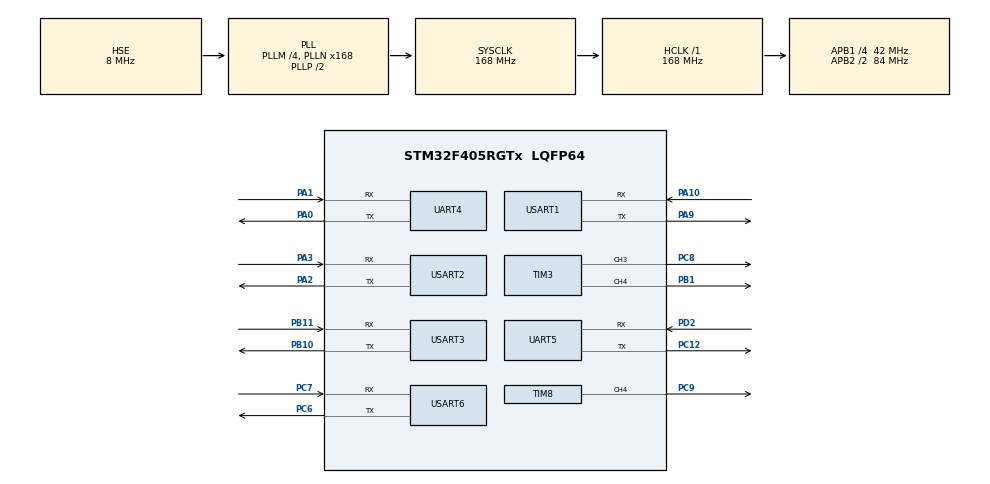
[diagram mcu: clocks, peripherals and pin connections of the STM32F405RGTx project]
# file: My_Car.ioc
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Mcu.Family=STM32F4
Mcu.Name=STM32F405RGTx
Mcu.Package=LQFP64
NVIC.PriorityGroup=NVIC_PRIORITYGROUP_4
NVIC.UART4_IRQn=true\:6\:0\:false\:false\:true\:false\:true\:false
NVIC.UART5_IRQn=true\:6\:0\:false\:false\:true\:false\:true\:false
NVIC.USART1_IRQn=true\:6\:0\:false\:false\:true\:false\:true\:false
NVIC.USART2_IRQn=true\:6\:0\:false\:false\:true\:false\:true\:false
NVIC.USART3_IRQn=true\:6\:0\:false\:false\:true\:false\:true\:false
NVIC.USART6_IRQn=true\:6\:0\:false\:false\:true\:false\:true\:false
PA0-WKUP.Mode=Asynchronous
PA0-WKUP.Signal=UART4_TX
PA1.Mode=Asynchronous
PA1.Signal=UART4_RX
PA10.Mode=Asynchronous
PA10.Signal=USART1_RX
PA13.Mode=Serial_Wire
PA13.Signal=SYS_JTMS-SWDIO
PA14.Mode=Serial_Wire
PA14.Signal=SYS_JTCK-SWCLK
PA2.Mode=Asynchronous
PA2.Signal=USART2_TX
PA3.Mode=Asynchronous
PA3.Signal=USART2_RX
PA9.Mode=Asynchronous
PA9.Signal=USART1_TX
PB1.Signal=S_TIM3_CH4
PB10.Mode=Asynchronous
PB10.Signal=USART3_TX
PB11.Mode=Asynchronous
PB11.Signal=USART3_RX
PC12.Mode=Asynchronous
PC12.Signal=UART5_TX
PC6.Mode=Asynchronous
PC6.Signal=USART6_TX
PC7.Mode=Asynchronous
PC7.Signal=USART6_RX
PC8.Signal=S_TIM3_CH3
PC9.Signal=S_TIM8_CH4
PD2.Mode=Asynchronous
PD2.Signal=UART5_RX
PH0-OSC_IN.Mode=HSE-External-Oscillator
PH0-OSC_IN.Signal=RCC_OSC_IN
PH1-OSC_OUT.Mode=HSE-External-Oscillator
PH1-OSC_OUT.Signal=RCC_OSC_OUT
ProjectManager.HeapSize=0x200
ProjectManager.StackSize=0x400
ProjectManager.TargetToolchain=CMake
RCC.48MHZClocksFreq_Value=84000000
RCC.AHBFreq_Value=168000000
RCC.APB1CLKDivider=RCC_HCLK_DIV4
RCC.APB1Freq_Value=42000000
RCC.APB1TimFreq_Value=84000000
RCC.APB2CLKDivider=RCC_HCLK_DIV2
RCC.APB2Freq_Value=84000000
RCC.APB2TimFreq_Value=168000000
RCC.CortexFreq_Value=168000000
RCC.HCLKFreq_Value=168000000
RCC.HSE_VALUE=8000000
RCC.HSI_VALUE=16000000
RCC.LSE_VALUE=32768
RCC.PLLM=4
RCC.PLLN=168
RCC.PLLSourceVirtual=RCC_PLLSOURCE_HSE
RCC.SYSCLKFreq_VALUE=168000000
RCC.SYSCLKSource=RCC_SYSCLKSOURCE_PLLCLK
RCC.VCOOutputFreq_Value=336000000
SH.S_TIM3_CH3.0=TIM3_CH3,PWM Generation3 CH3
SH.S_TIM3_CH4.0=TIM3_CH4,PWM Generation4 CH4
SH.S_TIM8_CH4.0=TIM8_CH4,PWM Generation4 CH4
TIM3.Channel-PWM\ Generation3\ CH3=TIM_CHANNEL_3
TIM3.Channel-PWM\ Generation4\ CH4=TIM_CHANNEL_4
TIM8.Channel-PWM\ Generation4\ CH4=TIM_CHANNEL_4
UART4.VirtualMode=Asynchronous
UART5.VirtualMode=Asynchronous
USART1.VirtualMode=VM_ASYNC
USART2.VirtualMode=VM_ASYNC
USART3.VirtualMode=VM_ASYNC
USART6.VirtualMode=VM_ASYNC
VP_TIM3_VS_ClockSourceINT.Mode=Internal
VP_TIM8_VS_ClockSourceINT.Mode=Internal
board=custom

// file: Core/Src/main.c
/* USER CODE BEGIN Header */
/**
  ******************************************************************************
  * @file           : main.c
  * @brief          : Main program body
  ******************************************************************************
  * @attention
  *
  * Copyright (c) 2026 STMicroelectronics.
  * All rights reserved.
  *
  * This software is licensed under terms that can be found in the LICENSE file
  * in the root directory of this software component.
  * If no LICENSE file comes with this software, it is provided AS-IS.
  *
  ******************************************************************************
  */
/* USER CODE END Header */
#include "main.h"

/* USER CODE BEGIN Includes */
#include "common.h"
#include "chassis.h"
#include "actuator.h"
#include "positioning.h"
#include "vision.h"
#include "navigation.h"
#include "qrcode.h"
#include "task.h"
#include "obstacle.h"
#include <stdio.h>

/* 底盘运动测试模式
 * 用途: 脱离任务流程, 通过蓝牙单独调试底盘运动
 * 使用: 取消下面这行的注释, 重新编译烧录, 手机蓝牙串口连接后发指令
 * 关闭: 测试完毕后注释回去, 重新编译即可恢复完整任务流程
 * 指令: V vx vy wz (速度) / N x y (导航) / S (停车) / ? (查询)
 */
// #define CHASSIS_TEST_MODE

/* USER CODE END Includes */

TIM_HandleTypeDef htim3;
TIM_HandleTypeDef htim8;

UART_HandleTypeDef huart4;
UART_HandleTypeDef huart5;
UART_HandleTypeDef huart1;
UART_HandleTypeDef huart2;
UART_HandleTypeDef huart3;
UART_HandleTypeDef huart6;

/* USER CODE BEGIN PV */
uart_ring_buf_t uart1_rx_buf;  /* USART1: Linux视觉通信 */
uart_ring_buf_t uart2_rx_buf;  /* USART2: 底盘电机+升降电机 */
uart_ring_buf_t uart3_rx_buf;  /* USART3: OPS9定位 */
uart_ring_buf_t uart4_rx_buf;  /* UART4:  串口屏 */
uart_ring_buf_t uart5_rx_buf;  /* UART5:  二维码模块 */
uart_ring_buf_t uart6_rx_buf;  /* USART6: 避障传感器 (STP-23L) */

/* 每个串口的单字节接收缓冲区 */
uint8_t uart1_rx_byte;
uint8_t uart2_rx_byte;
uint8_t uart3_rx_byte;
uint8_t uart4_rx_byte;
uint8_t uart5_rx_byte;
uint8_t uart6_rx_byte;
/* USER CODE END PV */

void SystemClock_Config(void);
static void MX_GPIO_Init(void);
static void MX_TIM3_Init(void);
static void MX_TIM8_Init(void);
static void MX_UART4_Init(void);
static void MX_UART5_Init(void);
static void MX_USART1_UART_Init(void);
static void MX_USART2_UART_Init(void);
static void MX_USART3_UART_Init(void);
static void MX_USART6_UART_Init(void);

int main(void)
{

  /* MCU Configuration--------------------------------------------------------*/

  /* Reset of all peripherals, Initializes the Flash interface and the Systick. */
  HAL_Init();

  /* Configure the system clock */
  SystemClock_Config();

  /* Initialize all configured peripherals */
  MX_GPIO_Init();
  MX_TIM3_Init();
  MX_TIM8_Init();
  MX_UART4_Init();
  MX_UART5_Init();
  MX_USART1_UART_Init();
  MX_USART2_UART_Init();
  MX_USART3_UART_Init();
  MX_USART6_UART_Init();
  /* USER CODE BEGIN 2 */
  /* 使能串口中断 */
  HAL_NVIC_SetPriority(USART1_IRQn, 6, 0);
  HAL_NVIC_EnableIRQ(USART1_IRQn);
  HAL_NVIC_SetPriority(USART2_IRQn, 6, 0);
  HAL_NVIC_EnableIRQ(USART2_IRQn);
  HAL_NVIC_SetPriority(USART3_IRQn, 6, 0);
  HAL_NVIC_EnableIRQ(USART3_IRQn);
  HAL_NVIC_SetPriority(UART4_IRQn, 6, 0);
  HAL_NVIC_EnableIRQ(UART4_IRQn);
  HAL_NVIC_SetPriority(UART5_IRQn, 6, 0);
  HAL_NVIC_EnableIRQ(UART5_IRQn);
  HAL_NVIC_SetPriority(USART6_IRQn, 6, 0);
  HAL_NVIC_EnableIRQ(USART6_IRQn);

  /* 初始化环形缓冲区 */
  ring_buf_init(&uart1_rx_buf);
  ring_buf_init(&uart2_rx_buf);
  ring_buf_init(&uart3_rx_buf);
  ring_buf_init(&uart4_rx_buf);
  ring_buf_init(&uart5_rx_buf);
  ring_buf_init(&uart6_rx_buf);

  /* 启动串口接收中断 (每次1字节) */
  HAL_UART_Receive_IT(&huart1, &uart1_rx_byte, 1);
  HAL_UART_Receive_IT(&huart2, &uart2_rx_byte, 1);
  HAL_UART_Receive_IT(&huart3, &uart3_rx_byte, 1);
  HAL_UART_Receive_IT(&huart4, &uart4_rx_byte, 1);
  HAL_UART_Receive_IT(&huart5, &uart5_rx_byte, 1);
  HAL_UART_Receive_IT(&huart6, &uart6_rx_byte, 1);

  /* 初始化各模块 */
  chassis_init();
  actuator_init();
  positioning_init();
  vision_init();
  obstacle_init();
  navigation_init();
  qr_code_init();
  task_init();

  /* 启动延时 - 等待传感器稳定 */
  HAL_Delay(500);

#ifdef CHASSIS_TEST_MODE
  /* 测试模式启动提示: 上电后通过蓝牙发送帮助信息 */
  {
      const char *banner =
          "\r\n===== 底盘测试模式 =====\r\n"
          "V vx vy wz  速度(m/s,rad/s)\r\n"
          "N x y       导航到坐标(m)\r\n"
          "S           停车\r\n"
          "?           查询位置/导航\r\n"
          "D           查询避障距离\r\n"
          "============================\r\n";
      HAL_UART_Transmit(&huart6, (uint8_t *)banner, strlen(banner), 100);
  }
#endif

  /* USER CODE END 2 */

  /* Infinite loop */
  while (1)
  {

    /* USER CODE BEGIN 3 */
#ifdef CHASSIS_TEST_MODE
    chassis_test_process();
#else
    task_update();
#endif
  }
  /* USER CODE END 3 */
}

void SystemClock_Config(void)
{
  RCC_OscInitTypeDef RCC_OscInitStruct = {0};
  RCC_ClkInitTypeDef RCC_ClkInitStruct = {0};

  /** Configure the main internal regulator output voltage
  */
  __HAL_RCC_PWR_CLK_ENABLE();
  __HAL_PWR_VOLTAGESCALING_CONFIG(PWR_REGULATOR_VOLTAGE_SCALE1);

  /** Initializes the RCC Oscillators according to the specified parameters
  * in the RCC_OscInitTypeDef structure.
  */
  RCC_OscInitStruct.OscillatorType = RCC_OSCILLATORTYPE_HSE;
  RCC_OscInitStruct.HSEState = RCC_HSE_ON;
  RCC_OscInitStruct.PLL.PLLState = RCC_PLL_ON;
  RCC_OscInitStruct.PLL.PLLSource = RCC_PLLSOURCE_HSE;
  RCC_OscInitStruct.PLL.PLLM = 4;
  RCC_OscInitStruct.PLL.PLLN = 168;
  RCC_OscInitStruct.PLL.PLLP = RCC_PLLP_DIV2;
  RCC_OscInitStruct.PLL.PLLQ = 4;
  if (HAL_RCC_OscConfig(&RCC_OscInitStruct) != HAL_OK)
  {
    Error_Handler();
  }

  /** Initializes the CPU, AHB and APB buses clocks
  */
  RCC_ClkInitStruct.ClockType = RCC_CLOCKTYPE_HCLK|RCC_CLOCKTYPE_SYSCLK
                              |RCC_CLOCKTYPE_PCLK1|RCC_CLOCKTYPE_PCLK2;
  RCC_ClkInitStruct.SYSCLKSource = RCC_SYSCLKSOURCE_PLLCLK;
  RCC_ClkInitStruct.AHBCLKDivider = RCC_SYSCLK_DIV1;
  RCC_ClkInitStruct.APB1CLKDivider = RCC_HCLK_DIV4;
  RCC_ClkInitStruct.APB2CLKDivider = RCC_HCLK_DIV2;

  if (HAL_RCC_ClockConfig(&RCC_ClkInitStruct, FLASH_LATENCY_5) != HAL_OK)
  {
    Error_Handler();
  }
}

static void MX_TIM3_Init(void)
{

  TIM_ClockConfigTypeDef sClockSourceConfig = {0};
  TIM_MasterConfigTypeDef sMasterConfig = {0};
  TIM_OC_InitTypeDef sConfigOC = {0};

  htim3.Instance = TIM3;
  htim3.Init.Prescaler = 83;    /* 84MHz/(83+1)=1MHz → 1μs分辨率 */
  htim3.Init.CounterMode = TIM_COUNTERMODE_UP;
  htim3.Init.Period = 19999;    /* 1MHz/(19999+1)=50Hz 舵机标准频率 */
  htim3.Init.ClockDivision = TIM_CLOCKDIVISION_DIV1;
  htim3.Init.AutoReloadPreload = TIM_AUTORELOAD_PRELOAD_DISABLE;
  if (HAL_TIM_Base_Init(&htim3) != HAL_OK)
  {
    Error_Handler();
  }
  sClockSourceConfig.ClockSource = TIM_CLOCKSOURCE_INTERNAL;
  if (HAL_TIM_ConfigClockSource(&htim3, &sClockSourceConfig) != HAL_OK)
  {
    Error_Handler();
  }
  if (HAL_TIM_PWM_Init(&htim3) != HAL_OK)
  {
    Error_Handler();
  }
  sMasterConfig.MasterOutputTrigger = TIM_TRGO_RESET;
  sMasterConfig.MasterSlaveMode = TIM_MASTERSLAVEMODE_DISABLE;
  if (HAL_TIMEx_MasterConfigSynchronization(&htim3, &sMasterConfig) != HAL_OK)
  {
    Error_Handler();
  }
  sConfigOC.OCMode = TIM_OCMODE_PWM1;
  sConfigOC.Pulse = 0;
  sConfigOC.OCPolarity = TIM_OCPOLARITY_HIGH;
  sConfigOC.OCFastMode = TIM_OCFAST_DISABLE;
  if (HAL_TIM_PWM_ConfigChannel(&htim3, &sConfigOC, TIM_CHANNEL_3) != HAL_OK)
  {
    Error_Handler();
  }
  if (HAL_TIM_PWM_ConfigChannel(&htim3, &sConfigOC, TIM_CHANNEL_4) != HAL_OK)
  {
    Error_Handler();
  }
  HAL_TIM_MspPostInit(&htim3);

}

static void MX_TIM8_Init(void)
{

  TIM_ClockConfigTypeDef sClockSourceConfig = {0};
  TIM_MasterConfigTypeDef sMasterConfig = {0};
  TIM_OC_InitTypeDef sConfigOC = {0};
  TIM_BreakDeadTimeConfigTypeDef sBreakDeadTimeConfig = {0};

  htim8.Instance = TIM8;
  htim8.Init.Prescaler = 167;   /* 168MHz/(167+1)=1MHz → 1μs分辨率 */
  htim8.Init.CounterMode = TIM_COUNTERMODE_UP;
  htim8.Init.Period = 19999;    /* 1MHz/(19999+1)=50Hz 舵机标准频率 */
  htim8.Init.ClockDivision = TIM_CLOCKDIVISION_DIV1;
  htim8.Init.RepetitionCounter = 0;
  htim8.Init.AutoReloadPreload = TIM_AUTORELOAD_PRELOAD_DISABLE;
  if (HAL_TIM_Base_Init(&htim8) != HAL_OK)
  {
    Error_Handler();
  }
  sClockSourceConfig.ClockSource = TIM_CLOCKSOURCE_INTERNAL;
  if (HAL_TIM_ConfigClockSource(&htim8, &sClockSourceConfig) != HAL_OK)
  {
    Error_Handler();
  }
  if (HAL_TIM_PWM_Init(&htim8) != HAL_OK)
  {
    Error_Handler();
  }
  sMasterConfig.MasterOutputTrigger = TIM_TRGO_RESET;
  sMasterConfig.MasterSlaveMode = TIM_MASTERSLAVEMODE_DISABLE;
  if (HAL_TIMEx_MasterConfigSynchronization(&htim8, &sMasterConfig) != HAL_OK)
  {
    Error_Handler();
  }
  sConfigOC.OCMode = TIM_OCMODE_PWM1;
  sConfigOC.Pulse = 0;
  sConfigOC.OCPolarity = TIM_OCPOLARITY_HIGH;
  sConfigOC.OCFastMode = TIM_OCFAST_DISABLE;
  sConfigOC.OCIdleState = TIM_OCIDLESTATE_RESET;
  sConfigOC.OCNIdleState = TIM_OCNIDLESTATE_RESET;
  if (HAL_TIM_PWM_ConfigChannel(&htim8, &sConfigOC, TIM_CHANNEL_4) != HAL_OK)
  {
    Error_Handler();
  }
  sBreakDeadTimeConfig.OffStateRunMode = TIM_OSSR_DISABLE;
  sBreakDeadTimeConfig.OffStateIDLEMode = TIM_OSSI_DISABLE;
  sBreakDeadTimeConfig.LockLevel = TIM_LOCKLEVEL_OFF;
  sBreakDeadTimeConfig.DeadTime = 0;
  sBreakDeadTimeConfig.BreakState = TIM_BREAK_DISABLE;
  sBreakDeadTimeConfig.BreakPolarity = TIM_BREAKPOLARITY_HIGH;
  sBreakDeadTimeConfig.AutomaticOutput = TIM_AUTOMATICOUTPUT_DISABLE;
  if (HAL_TIMEx_ConfigBreakDeadTime(&htim8, &sBreakDeadTimeConfig) != HAL_OK)
  {
    Error_Handler();
  }
  HAL_TIM_MspPostInit(&htim8);

}

static void MX_UART4_Init(void)
{

  huart4.Instance = UART4;
  huart4.Init.BaudRate = 115200;
  huart4.Init.WordLength = UART_WORDLENGTH_8B;
  huart4.Init.StopBits = UART_STOPBITS_1;
  huart4.Init.Parity = UART_PARITY_NONE;
  huart4.Init.Mode = UART_MODE_TX_RX;
  huart4.Init.HwFlowCtl = UART_HWCONTROL_NONE;
  huart4.Init.OverSampling = UART_OVERSAMPLING_16;
  if (HAL_UART_Init(&huart4) != HAL_OK)
  {
    Error_Handler();
  }

}

static void MX_UART5_Init(void)
{

  huart5.Instance = UART5;
  huart5.Init.BaudRate = 115200;
  huart5.Init.WordLength = UART_WORDLENGTH_8B;
  huart5.Init.StopBits = UART_STOPBITS_1;
  huart5.Init.Parity = UART_PARITY_NONE;
  huart5.Init.Mode = UART_MODE_TX_RX;
  huart5.Init.HwFlowCtl = UART_HWCONTROL_NONE;
  huart5.Init.OverSampling = UART_OVERSAMPLING_16;
  if (HAL_UART_Init(&huart5) != HAL_OK)
  {
    Error_Handler();
  }

}

static void MX_USART1_UART_Init(void)
{

  huart1.Instance = USART1;
  huart1.Init.BaudRate = 115200;
  huart1.Init.WordLength = UART_WORDLENGTH_8B;
  huart1.Init.StopBits = UART_STOPBITS_1;
  huart1.Init.Parity = UART_PARITY_NONE;
  huart1.Init.Mode = UART_MODE_TX_RX;
  huart1.Init.HwFlowCtl = UART_HWCONTROL_NONE;
  huart1.Init.OverSampling = UART_OVERSAMPLING_16;
  if (HAL_UART_Init(&huart1) != HAL_OK)
  {
    Error_Handler();
  }

}

static void MX_USART2_UART_Init(void)
{

  huart2.Instance = USART2;
  huart2.Init.BaudRate = 115200;
  huart2.Init.WordLength = UART_WORDLENGTH_8B;
  huart2.Init.StopBits = UART_STOPBITS_1;
  huart2.Init.Parity = UART_PARITY_NONE;
  huart2.Init.Mode = UART_MODE_TX_RX;
  huart2.Init.HwFlowCtl = UART_HWCONTROL_NONE;
  huart2.Init.OverSampling = UART_OVERSAMPLING_16;
  if (HAL_UART_Init(&huart2) != HAL_OK)
  {
    Error_Handler();
  }

}

static void MX_USART3_UART_Init(void)
{

  huart3.Instance = USART3;
  huart3.Init.BaudRate = 115200;
  huart3.Init.WordLength = UART_WORDLENGTH_8B;
  huart3.Init.StopBits = UART_STOPBITS_1;
  huart3.Init.Parity = UART_PARITY_NONE;
  huart3.Init.Mode = UART_MODE_TX_RX;
  huart3.Init.HwFlowCtl = UART_HWCONTROL_NONE;
  huart3.Init.OverSampling = UART_OVERSAMPLING_16;
  if (HAL_UART_Init(&huart3) != HAL_OK)
  {
    Error_Handler();
  }

}

static void MX_USART6_UART_Init(void)
{

  huart6.Instance = USART6;
  huart6.Init.BaudRate = 230400;   /* STP-23L 激光测距传感器要求 230400 */
  huart6.Init.WordLength = UART_WORDLENGTH_8B;
  huart6.Init.StopBits = UART_STOPBITS_1;
  huart6.Init.Parity = UART_PARITY_NONE;
  huart6.Init.Mode = UART_MODE_TX_RX;
  huart6.Init.HwFlowCtl = UART_HWCONTROL_NONE;
  huart6.Init.OverSampling = UART_OVERSAMPLING_16;
  if (HAL_UART_Init(&huart6) != HAL_OK)
  {
    Error_Handler();
  }

}

static void MX_GPIO_Init(void)
{

  /* GPIO Ports Clock Enable */
  __HAL_RCC_GPIOH_CLK_ENABLE();
  __HAL_RCC_GPIOA_CLK_ENABLE();
  __HAL_RCC_GPIOB_CLK_ENABLE();
  __HAL_RCC_GPIOC_CLK_ENABLE();
  __HAL_RCC_GPIOD_CLK_ENABLE();

}

/* USER CODE BEGIN 4 */

#ifdef CHASSIS_TEST_MODE
/* ========== 底盘运动测试模式 (蓝牙 USART6) ==========
 *
 * 脱离任务流程, 通过蓝牙单独调试底盘运动。
 * 其他模块 (舵机/升降/视觉等) 不需要蓝牙调试, 不在此模式中。
 *
 * 使用步骤:
 *   1. 取消 main.c 顶部 #define CHASSIS_TEST_MODE 的注释
 *   2. 编译烧录, 上电后蓝牙自动发送帮助菜单
 *   3. 手机蓝牙串口助手连接, 发送指令测试底盘
 *   4. 测试完毕后注释回 #define, 重新编译恢复任务流程
 *
 * 支持的指令 (以换行符结尾):
 *   V vx vy wz  -- 直接速度控制 (持续运动, 直到发 S 停车)
 *       vx: 前进(+)/后退(-), 单位 m/s, 范围约 +/-0.3
 *       vy: 左移(+)/右移(-), 单位 m/s
 *       wz: 逆时针(+)/顺时针(-), 单位 rad/s
 *   N x y       -- 导航到场地坐标 (自动 PID, 到达后停下)
 *   S           -- 立即停车
 *   ?           -- 查询位置和导航状态
 */

/* 行缓冲区: 逐字节接收蓝牙数据, 遇到换行符解析整行 */
static char test_line_buf[64];
static uint8_t test_line_idx = 0;

/* 通过 USART6 发送字符串到蓝牙 */
static void test_send(const char *str)
{
    HAL_UART_Transmit(&huart6, (uint8_t *)str, strlen(str), 100);
}

/* 解析并执行一条完整的指令行 */
static void test_handle_line(char *line)
{
    char msg[96];
    char cmd = line[0];

    if (cmd == 'V' || cmd == 'v') {
        float vx = 0, vy = 0, wz = 0;
        if (sscanf(line + 1, "%f %f %f", &vx, &vy, &wz) >= 1) {
            chassis_set_velocity(vx, vy, wz);
            snprintf(msg, sizeof(msg), "OK V %.2f %.2f %.2f\r\n", vx, vy, wz);
        } else {
            snprintf(msg, sizeof(msg), "ERR 格式: V vx vy wz\r\n");
        }
    } else if (cmd == 'N' || cmd == 'n') {
        float x = 0, y = 0;
        if (sscanf(line + 1, "%f %f", &x, &y) == 2) {
            nav_goto(x, y);
            snprintf(msg, sizeof(msg), "OK N %.3f %.3f\r\n", x, y);
        } else {
            snprintf(msg, sizeof(msg), "ERR 格式: N x y\r\n");
        }
    } else if (cmd == 'S' || cmd == 's') {
        nav_stop(); chassis_stop();
        snprintf(msg, sizeof(msg), "OK 停车\r\n");
    } else if (cmd == '?') {
        pos_data_t p = pos_current;
        nav_state_t ns = nav_get_state();
        const char *st = (ns==NAV_IDLE)?"IDLE":(ns==NAV_RUNNING)?"RUNNING":
                         (ns==NAV_REACHED)?"REACHED":(ns==NAV_PAUSED)?"PAUSED":
                         (ns==NAV_FAILED)?"FAILED":"?";
        snprintf(msg, sizeof(msg), "POS %.3f %.3f %.1fdeg %s | NAV %s\r\n",
                 p.x, p.y, p.angle*180.0f/M_PI, p.valid?"OK":"LOST", st);
    } else if (cmd == 'D' || cmd == 'd') {
        /* 查询避障传感器距离 */
        uint16_t dist = obstacle_get_distance();
        bool det = obstacle_detected();
        snprintf(msg, sizeof(msg), "DIST=%umm %s\r\n",
                 dist, det ? "< 障碍!" : "安全");
    } else {
        /* 未知指令: 打印帮助 */
        snprintf(msg, sizeof(msg),
                 "ERR 未知. 用法:\r\n"
                 "  V vx wy wz  速度控制\r\n"
                 "  N x y       导航到坐标\r\n"
                 "  S           停车\r\n"
                 "  ?           查询位置\r\n"
                 "  D           查询避障\r\n");
    }
    test_send(msg);
}

/* 主循环调用: 从蓝牙缓冲区逐字节读取, 拼行后解析 */
static void chassis_test_process(void)
{
    /* 从环形缓冲区逐字节读取, 遇换行触发解析 */
    while (!ring_buf_empty(&uart6_rx_buf)) {
        char ch = (char)ring_buf_get(&uart6_rx_buf);
        if (ch == '\n' || ch == '\r') {
            if (test_line_idx > 0) {
                test_line_buf[test_line_idx] = '\0';
                test_handle_line(test_line_buf);
                test_line_idx = 0;
            }
        } else if (test_line_idx < sizeof(test_line_buf) - 1) {
            test_line_buf[test_line_idx++] = ch;
        }
    }

    /* 周期性更新: 避障数据采集 + 导航PID */
    obstacle_process();
    nav_update();
}
#endif /* CHASSIS_TEST_MODE */

/* 串口接收完成回调 - 将字节存入环形缓冲区并重新启动接收 */
void HAL_UART_RxCpltCallback(UART_HandleTypeDef *huart)
{
    if (huart->Instance == USART1) {
        ring_buf_put(&uart1_rx_buf, uart1_rx_byte);
        HAL_UART_Receive_IT(&huart1, &uart1_rx_byte, 1);
    }
    else if (huart->Instance == USART2) {
        ring_buf_put(&uart2_rx_buf, uart2_rx_byte);
        HAL_UART_Receive_IT(&huart2, &uart2_rx_byte, 1);
    }
    else if (huart->Instance == USART3) {
        ring_buf_put(&uart3_rx_buf, uart3_rx_byte);
        HAL_UART_Receive_IT(&huart3, &uart3_rx_byte, 1);
    }
    else if (huart->Instance == UART4) {
        ring_buf_put(&uart4_rx_buf, uart4_rx_byte);
        HAL_UART_Receive_IT(&huart4, &uart4_rx_byte, 1);
    }
    else if (huart->Instance == UART5) {
        ring_buf_put(&uart5_rx_buf, uart5_rx_byte);
        HAL_UART_Receive_IT(&huart5, &uart5_rx_byte, 1);
    }
    else if (huart->Instance == USART6) {
        ring_buf_put(&uart6_rx_buf, uart6_rx_byte);
        HAL_UART_Receive_IT(&huart6, &uart6_rx_byte, 1);
    }
}

/* UART错误回调 - 通信出错时重新启动接收 */
void HAL_UART_ErrorCallback(UART_HandleTypeDef *huart)
{
    if (huart->Instance == USART1) HAL_UART_Receive_IT(&huart1, &uart1_rx_byte, 1);
    else if (huart->Instance == USART2) HAL_UART_Receive_IT(&huart2, &uart2_rx_byte, 1);
    else if (huart->Instance == USART3) HAL_UART_Receive_IT(&huart3, &uart3_rx_byte, 1);
    else if (huart->Instance == UART4) HAL_UART_Receive_IT(&huart4, &uart4_rx_byte, 1);
    else if (huart->Instance == UART5) HAL_UART_Receive_IT(&huart5, &uart5_rx_byte, 1);
    else if (huart->Instance == USART6) HAL_UART_Receive_IT(&huart6, &uart6_rx_byte, 1);
}
/* USER CODE END 4 */

void Error_Handler(void)
{
  /* USER CODE BEGIN Error_Handler_Debug */
  /* 可在此添加自定义错误处理 */
  __disable_irq();
  while (1)
  {
  }
  /* USER CODE END Error_Handler_Debug */
}
#ifdef USE_FULL_ASSERT
/**
  * @brief  Reports the name of the source file and the source line number
  *         where the assert_param error has occurred.
  * @param  file: pointer to the source file name
  * @param  line: assert_param error line source number
  * @retval None
  */
void assert_failed(uint8_t *file, uint32_t line)
{
  /* USER CODE BEGIN 6 */
  /* 可在此添加断言失败的错误处理 */
  /* USER CODE END 6 */
}
#endif /* USE_FULL_ASSERT */
